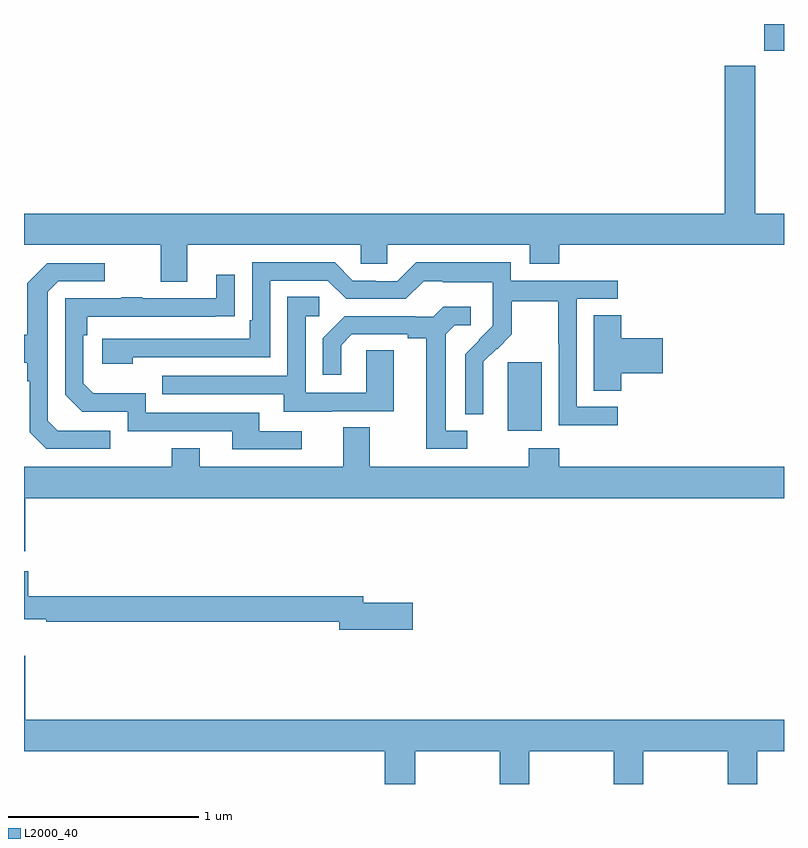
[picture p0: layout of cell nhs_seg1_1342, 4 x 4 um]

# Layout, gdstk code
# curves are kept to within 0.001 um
import gdstk
lib = gdstk.Library(unit=1e-6, precision=1e-09)
def R(c, l, rs):  # rectangles x0, y0, x1, y1
    for r in rs: c.add(gdstk.rectangle(r[:2], r[2:], *l))
def P(c, l, *ps):  # polygons
    for p in ps: c.add(gdstk.Polygon(p, *l))
L2000_40 = (2000, 40)

nhs_seg1_1342 = lib.new_cell('nhs_seg1_1342')
R(nhs_seg1_1342, L2000_40, [(185.546,580.058,185.725,580.419), (186.896,582.059,187,582.199)])
P(nhs_seg1_1342, L2000_40, [(183.859,581.036),(184.773,581.036),(184.773,580.938),(184.911,580.938),(184.911,581.036),(185.663,581.036),(185.663,580.937),(185.816,580.937),(185.816,581.036),(187,581.036),(187,581.2),(186.849,581.2),(186.849,581.98),(186.689,581.98),(186.689,581.2),(183,581.2),(183,581.036),(183.719,581.036),(183.719,580.842),(183.859,580.842)],
  [(186.124,580.185),(185.91,580.185),(185.91,580.752),(186.124,580.752),(186.124,580.848),(185.562,580.848),(185.562,580.945),(185.065,580.945),(184.965,580.845),(184.85,580.845),(184.85,580.848),(184.731,580.848),(184.635,580.944),(184.2,580.944),(184.2,580.639),(184.187,580.639),(184.187,580.542),(183.411,580.542),(183.411,580.412),(183.572,580.412),(183.572,580.446),(184.296,580.446),(184.296,580.848),(184.599,580.848),(184.695,580.752),(185.01,580.752),(185.103,580.845),(185.203,580.845),(185.203,580.841),(185.466,580.841),(185.466,580.707),(185.468,580.707),(185.468,580.61),(185.322,580.462),(185.322,580.144),(185.418,580.144),(185.417,580.421),(185.487,580.491),(185.49,580.488),(185.567,580.565),(185.567,580.74),(185.812,580.74),(185.812,580.516),(185.814,580.516),(185.814,580.087),(186.124,580.087)],
  [(183.454,580.059),(183.177,580.059),(183.126,580.11),(183.126,580.791),(183.18,580.845),(183.424,580.845),(183.424,580.941),(183.123,580.941),(183.018,580.835),(183.018,580.563),(183,580.563),(183,580.415),(183.018,580.415),(183.018,580.319),(183.03,580.319),(183.03,580.05),(183.117,579.963),(183.454,579.963)],
  [(184.462,580.056),(184.237,580.056),(184.237,580.152),(183.642,580.152),(183.642,580.255),(183.365,580.255),(183.312,580.308),(183.312,580.562),(183.332,580.562),(183.332,580.659),(184.109,580.66),(184.109,580.879),(184.013,580.879),(184.013,580.755),(183.623,580.755),(183.623,580.76),(183.511,580.76),(183.511,580.755),(183.216,580.755),(183.216,580.248),(183.306,580.158),(183.546,580.158),(183.546,580.056),(184.097,580.056),(184.097,579.96),(184.462,579.96)],
  [(184.621,580.161),(184.945,580.161),(184.945,580.481),(184.8,580.481),(184.8,580.257),(184.482,580.257),(184.482,580.662),(184.555,580.662),(184.555,580.763),(184.386,580.763),(184.386,580.347),(183.727,580.347),(183.727,580.251),(184.367,580.251),(184.367,580.157),(184.621,580.157)],
  [(185.332,580.059),(185.221,580.059),(185.221,580.567),(185.268,580.614),(185.35,580.614),(185.35,580.711),(185.206,580.711),(185.154,580.659),(185.06,580.659),(185.06,580.662),(184.688,580.662),(184.572,580.546),(184.572,580.353),(184.669,580.353),(184.669,580.509),(184.726,580.566),(185.021,580.566),(185.021,580.544),(185.117,580.544),(185.117,579.963),(185.332,579.963)],
  [(186.143,580.361),(186.361,580.361),(186.361,580.544),(186.143,580.544),(186.143,580.667),(185.999,580.667),(185.999,580.27),(186.143,580.27)],
  [(183.007,579.704),(187,579.704),(187,579.868),(185.816,579.868),(185.816,579.967),(185.656,579.967),(185.656,579.868),(184.819,579.868),(184.819,580.076),(184.679,580.076),(184.679,579.868),(183.925,579.868),(183.925,579.967),(183.778,579.967),(183.778,579.868),(183,579.868),(183,579.423),(183.007,579.423)],
  [(185.047,579.152),(184.786,579.152),(184.786,579.188),(183.022,579.188),(183.022,579.319),(183,579.319),(183,579.065),(183.118,579.065),(183.118,579.052),(184.658,579.052),(184.658,579.01),(185.047,579.01)],
  [(183.007,578.873),(183,578.873),(183,578.372),(184.898,578.372),(184.898,578.199),(185.058,578.199),(185.058,578.372),(185.503,578.372),(185.503,578.199),(185.658,578.199),(185.658,578.372),(186.103,578.372),(186.103,578.199),(186.258,578.199),(186.258,578.372),(186.703,578.372),(186.703,578.199),(186.858,578.199),(186.858,578.372),(187,578.372),(187,578.536),(183.007,578.536)])

lib.write_gds('nhs_seg1_1342.gds')
